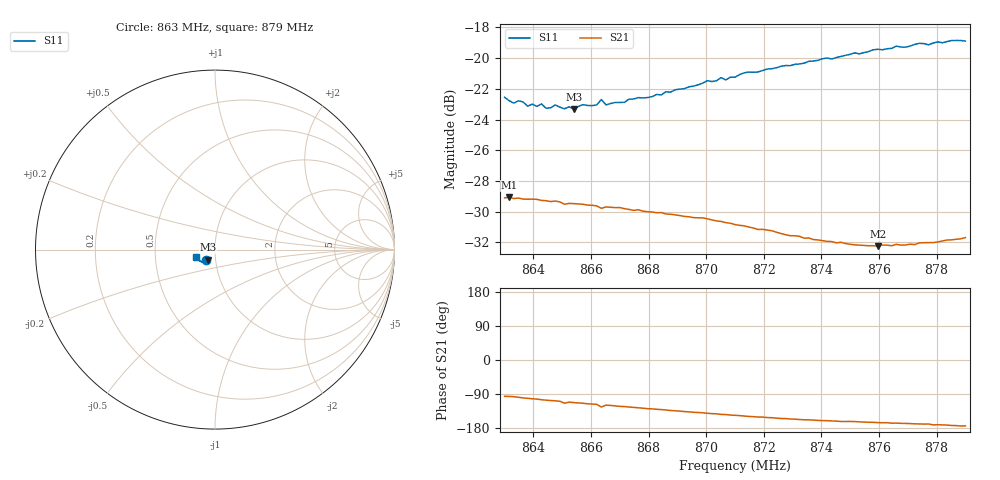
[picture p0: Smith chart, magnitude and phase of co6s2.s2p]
# HZ S RI R 50
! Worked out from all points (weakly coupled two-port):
!   101 points, 863 MHz to 879 MHz, reference 50 ohm
!   highest |S21| = -29.07 dB at 863.16 MHz (marker M1); lowest = -32.2 dB at 875.96 MHz (marker M2)
!   lowest |S11| = -23.3 dB at 865.4 MHz (marker M3), VSWR 1.15, Z = 46 - j5.23 ohm
!   |S11| at or under -10 dB: start of sweep to end of sweep
!   S12 and S22 are empty: the file has one direction only
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8.63e8  -0.048 -0.057  -0.0036 -0.0349  0 0  0 0
8.6316e8  -0.047 -0.0554  -0.00369 -0.035  0 0  0 0
8.6332e8  -0.0437 -0.0564  -0.00417 -0.0346  0 0  0 0
8.6364e8  -0.0449 -0.0562  -0.00604 -0.0342  0 0  0 0
8.638e8  -0.0407 -0.0566  -0.00666 -0.0341  0 0  0 0
8.6428e8  -0.0419 -0.0572  -0.00879 -0.0333  0 0  0 0
8.6444e8  -0.0411 -0.055  -0.00946 -0.033  0 0  0 0
8.6476e8  -0.0409 -0.0573  -0.0104 -0.0326  0 0  0 0
8.654e8  -0.0382 -0.0566  -0.0128 -0.0311  0 0  0 0
8.6572e8  -0.0388 -0.0589  -0.0136 -0.0305  0 0  0 0
8.662e8  -0.0379 -0.0594  -0.015 -0.0294  0 0  0 0
8.6636e8  -0.0415 -0.0605  -0.0182 -0.0268  0 0  0 0
8.6652e8  -0.0366 -0.0601  -0.0159 -0.0286  0 0  0 0
8.6844e8  -0.039 -0.065  -0.0205 -0.0238  0 0  0 0
8.7004e8  -0.0467 -0.0703  -0.0232 -0.019  0 0  0 0
8.71e8  -0.051 -0.07  -0.0238 -0.0161  0 0  0 0
8.7132e8  -0.0531 -0.0721  -0.0241 -0.0151  0 0  0 0
8.7372e8  -0.0681 -0.0702  -0.0239 -0.00938  0 0  0 0
8.7596e8  -0.0863 -0.063  -0.0236 -0.00623  0 0  0 0
8.7644e8  -0.0901 -0.0587  -0.0238 -0.00566  0 0  0 0
8.774e8  -0.0986 -0.0526  -0.0245 -0.00489  0 0  0 0
8.79e8  -0.1069 -0.0385  -0.0259 -0.00282  0 0  0 0
